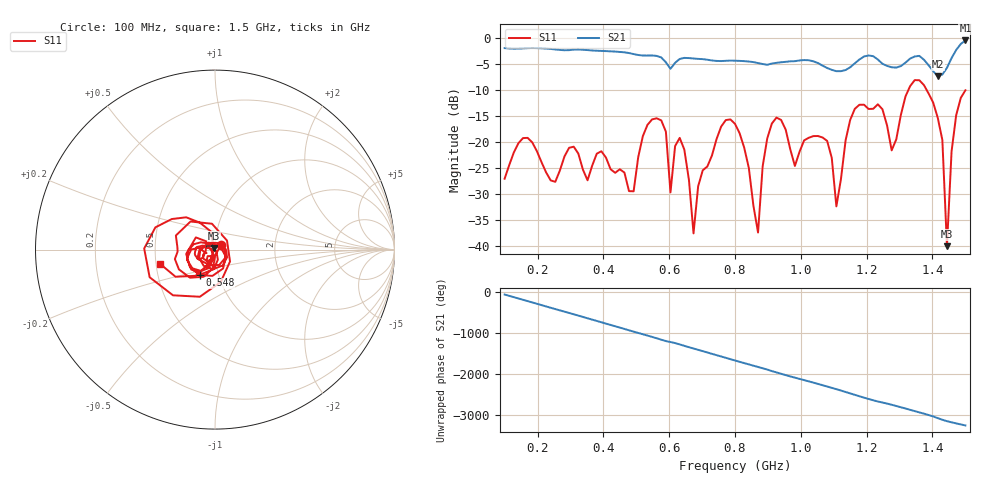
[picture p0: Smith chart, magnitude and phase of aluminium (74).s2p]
! NanoVNA-App
! Date: 2025-09-26 09:58:38
! Start: 100MHz Stop: 1,5GHz Points: 101
! S-Parameter data: F S11 S21 S12 S22
# Hz S RI R 50
!  Frequency  S11_Real  S11_Imag  S21_Real  S21_Imag  S12_Real  S12_Imag  S22_Real  S22_Imag
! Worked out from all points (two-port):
!   101 points, 100 MHz to 1.5 GHz, reference 50 ohm
!   highest |S21| = -0.44 dB at 1.5 GHz (marker M1); lowest = -7.3 dB at 1.416 GHz (marker M2)
!   |S21| within 3 dB of the highest: start of sweep to 563.6 MHz; 1.461 GHz to end of sweep (the widest 2 of 4)
!   lowest |S11| = -39.9 dB at 1.444 GHz (marker M3), VSWR 1.02, Z = 49.5 + j0.895 ohm
!   |S11| at or under -10 dB: start of sweep to 1.326 GHz; 1.383 GHz to end of sweep
!   S12 and S22 are empty: the file has one direction only
!   S11 on the Smith chart (normalised r, x): 100 MHz: 1.07, +0.06; 548 MHz: 0.81, -0.24; 1.5 GHz: 0.53, -0.09
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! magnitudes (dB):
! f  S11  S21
! 100 MHz  -27.0  -1.9
! 338 MHz  -25.3  -2.2
! 492 MHz  -29.4  -3.1
! 548 MHz  -15.6  -3.3
! 576 MHz  -15.8  -3.7
! 604 MHz  -29.6  -5.9
! 646 MHz  -21.4  -3.8
! 674 MHz  -37.5  -3.9
! 702 MHz  -25.4  -4.0
! 800 MHz  -16.5  -4.3
! 870 MHz  -37.3  -4.8
! 912 MHz  -16.4  -4.9
! 1.038 GHz  -18.8  -4.4
! 1.108 GHz  -32.3  -6.3
! 1.164 GHz  -13.6  -4.8
! 1.276 GHz  -21.5  -5.6
! 1.346 GHz  -8.1  -3.5
! 1.416 GHz  -15.3  -7.3
! 1.43 GHz  -19.6  -7.0
! 1.444 GHz  -39.9  -5.7
! 1.458 GHz  -21.7  -3.8
! 1.5 GHz  -10.0  -0.4
